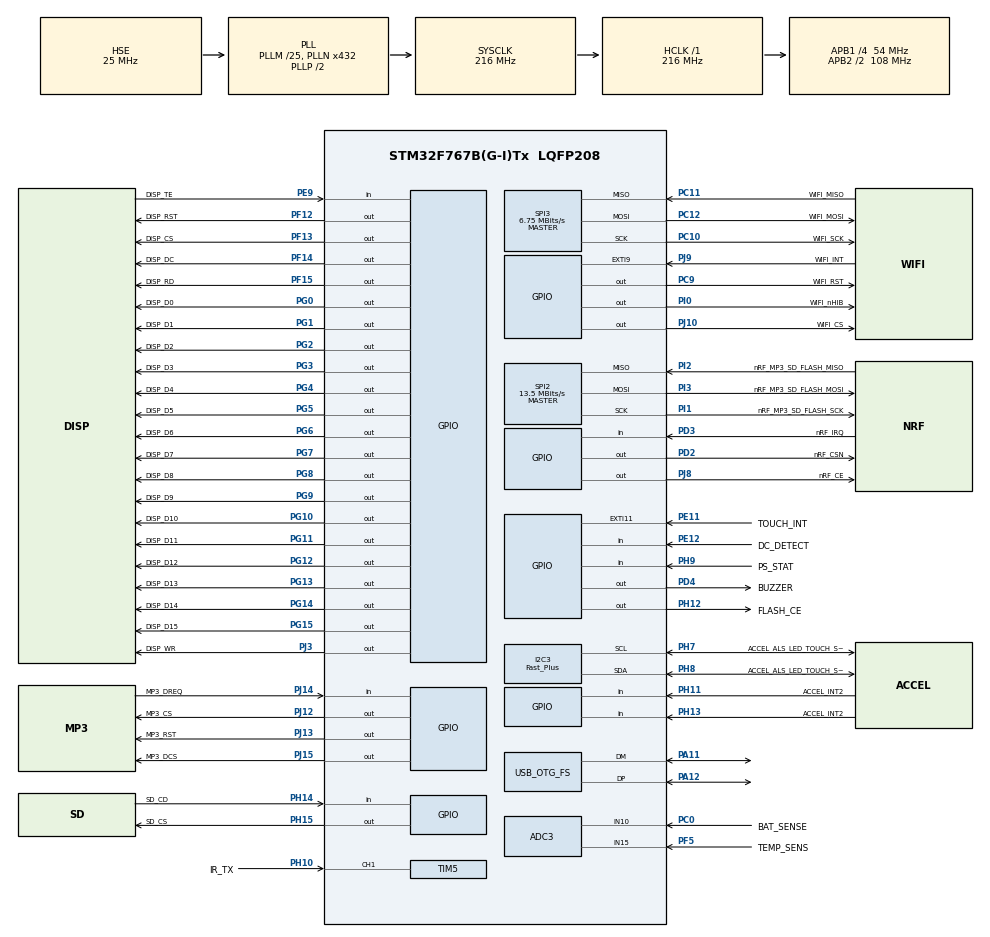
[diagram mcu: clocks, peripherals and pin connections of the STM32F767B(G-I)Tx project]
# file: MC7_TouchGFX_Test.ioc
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ADC1.Channel-5\#ChannelRegularConversion=ADC_CHANNEL_TEMPSENSOR
ADC1.ContinuousConvMode=DISABLE
ADC1.DiscontinuousConvMode=DISABLE
ADC1.NbrOfConversion=1
ADC1.NbrOfConversionFlag=1
ADC1.Rank-5\#ChannelRegularConversion=1
ADC1.SamplingTime-5\#ChannelRegularConversion=ADC_SAMPLETIME_480CYCLES
ADC1.ScanConvMode=ADC_SCAN_DISABLE
ADC1.master=1
ADC3.Channel-2\#ChannelRegularConversion=ADC_CHANNEL_15
ADC3.DiscontinuousConvMode=DISABLE
ADC3.NbrOfConversion=1
ADC3.NbrOfConversionFlag=1
ADC3.Rank-2\#ChannelRegularConversion=1
ADC3.SamplingTime-2\#ChannelRegularConversion=ADC_SAMPLETIME_480CYCLES
ADC3.ScanConvMode=ADC_SCAN_DISABLE
CORTEX_M7.ART_ACCLERATOR_ENABLE=0
CORTEX_M7.CPU_DCache=Enabled
CORTEX_M7.CPU_ICache=Enabled
CORTEX_M7.FlashInterface=AXI_Enabled
CORTEX_M7.PREFETCH_ENABLE=1
FATFS._MAX_SS=4096
FATFS._USE_FIND=1
FATFS._USE_LFN=1
I2C3.DualAddressMode=I2C_DUALADDRESS_DISABLE
I2C3.I2C_Speed_Mode=I2C_Fast_Plus
I2C3.Timing=0x00200922
Mcu.Family=STM32F7
Mcu.Name=STM32F767B(G-I)Tx
Mcu.Package=LQFP208
NVIC.EXTI15_10_IRQn=true\:1\:0\:true\:false\:true\:true\:true
NVIC.EXTI9_5_IRQn=true\:4\:0\:true\:false\:true\:true\:true
NVIC.OTG_FS_IRQn=true\:0\:0\:false\:false\:true\:false\:true
NVIC.PriorityGroup=NVIC_PRIORITYGROUP_4
NVIC.TIM2_IRQn=true\:0\:0\:false\:false\:true\:true\:true
NVIC.TIM4_IRQn=true\:0\:0\:false\:false\:true\:true\:true
NVIC.TIM5_IRQn=true\:5\:0\:true\:false\:true\:true\:true
PA11.Mode=Device_Only
PA11.Signal=USB_OTG_FS_DM
PA12.Mode=Device_Only
PA12.Signal=USB_OTG_FS_DP
PC0.GPIO_Label=BAT_SENSE
PC0.Signal=ADCx_IN10
PC10.GPIO_Label=WIFI_SCK
PC10.Mode=Full_Duplex_Master
PC10.Signal=SPI3_SCK
PC11.GPIO_Label=WIFI_MISO
PC11.Mode=Full_Duplex_Master
PC11.Signal=SPI3_MISO
PC12.GPIO_Label=WIFI_MOSI
PC12.Mode=Full_Duplex_Master
PC12.Signal=SPI3_MOSI
PC14/OSC32_IN.Mode=LSE-External-Oscillator
PC14/OSC32_IN.Signal=RCC_OSC32_IN
PC15/OSC32_OUT.Mode=LSE-External-Oscillator
PC15/OSC32_OUT.Signal=RCC_OSC32_OUT
PC9.GPIO_Label=WIFI_RST
PC9.GPIO_Speed=GPIO_SPEED_FREQ_VERY_HIGH
PC9.Signal=GPIO_Output
PD2.GPIO_Label=nRF_CSN
PD2.GPIO_Speed=GPIO_SPEED_FREQ_VERY_HIGH
PD2.Signal=GPIO_Output
PD3.GPIO_Label=nRF_IRQ
PD3.Signal=GPIO_Input
PD4.GPIO_Label=BUZZER
PD4.GPIO_Speed=GPIO_SPEED_FREQ_HIGH
PD4.Signal=GPIO_Output
PE11.GPIO_Label=TOUCH_INT
PE11.GPIO_ModeDefaultEXTI=GPIO_MODE_IT_FALLING
PE11.Signal=GPXTI11
PE12.GPIO_Label=DC_DETECT
PE12.Signal=GPIO_Input
PE9.GPIO_Label=DISP_TE
PE9.Signal=GPIO_Input
PF12.GPIO_Label=DISP_RST
PF12.GPIO_Speed=GPIO_SPEED_FREQ_VERY_HIGH
PF12.Signal=GPIO_Output
PF13.GPIO_Label=DISP_CS
PF13.GPIO_Speed=GPIO_SPEED_FREQ_VERY_HIGH
PF13.Signal=GPIO_Output
PF14.GPIO_Label=DISP_DC
PF14.GPIO_Speed=GPIO_SPEED_FREQ_VERY_HIGH
PF14.Signal=GPIO_Output
PF15.GPIO_Label=DISP_RD
PF15.GPIO_Speed=GPIO_SPEED_FREQ_VERY_HIGH
PF15.Signal=GPIO_Output
PF5.GPIO_Label=TEMP_SENS
PF5.Mode=IN15
PF5.Signal=ADC3_IN15
PG0.GPIO_Label=DISP_D0
PG0.GPIO_Speed=GPIO_SPEED_FREQ_VERY_HIGH
PG0.Signal=GPIO_Output
PG1.GPIO_Label=DISP_D1
PG1.GPIO_Speed=GPIO_SPEED_FREQ_VERY_HIGH
PG1.Signal=GPIO_Output
PG10.GPIO_Label=DISP_D10
PG10.GPIO_Speed=GPIO_SPEED_FREQ_VERY_HIGH
PG10.Signal=GPIO_Output
PG11.GPIO_Label=DISP_D11
PG11.GPIO_Speed=GPIO_SPEED_FREQ_VERY_HIGH
PG11.Signal=GPIO_Output
PG12.GPIO_Label=DISP_D12
PG12.GPIO_Speed=GPIO_SPEED_FREQ_VERY_HIGH
PG12.Signal=GPIO_Output
PG13.GPIO_Label=DISP_D13
PG13.GPIO_Speed=GPIO_SPEED_FREQ_VERY_HIGH
PG13.Signal=GPIO_Output
PG14.GPIO_Label=DISP_D14
PG14.GPIO_Speed=GPIO_SPEED_FREQ_VERY_HIGH
PG14.Signal=GPIO_Output
PG15.GPIO_Label=DISP_D15
PG15.GPIO_Speed=GPIO_SPEED_FREQ_VERY_HIGH
PG15.Signal=GPIO_Output
PG2.GPIO_Label=DISP_D2
PG2.GPIO_Speed=GPIO_SPEED_FREQ_VERY_HIGH
PG2.Signal=GPIO_Output
PG3.GPIO_Label=DISP_D3
PG3.GPIO_Speed=GPIO_SPEED_FREQ_VERY_HIGH
PG3.Signal=GPIO_Output
PG4.GPIO_Label=DISP_D4
PG4.GPIO_Speed=GPIO_SPEED_FREQ_VERY_HIGH
PG4.Signal=GPIO_Output
PG5.GPIO_Label=DISP_D5
PG5.GPIO_ModeDefaultOutputPP=GPIO_MODE_OUTPUT_PP
PG5.GPIO_Speed=GPIO_SPEED_FREQ_VERY_HIGH
PG5.Signal=GPIO_Output
PG6.GPIO_Label=DISP_D6
PG6.GPIO_Speed=GPIO_SPEED_FREQ_VERY_HIGH
PG6.Signal=GPIO_Output
PG7.GPIO_Label=DISP_D7
PG7.GPIO_Speed=GPIO_SPEED_FREQ_VERY_HIGH
PG7.Signal=GPIO_Output
PG8.GPIO_Label=DISP_D8
PG8.GPIO_Speed=GPIO_SPEED_FREQ_VERY_HIGH
PG8.Signal=GPIO_Output
PG9.GPIO_Label=DISP_D9
PG9.GPIO_Speed=GPIO_SPEED_FREQ_VERY_HIGH
PG9.Signal=GPIO_Output
PH0/OSC_IN.Mode=HSE-External-Oscillator
PH0/OSC_IN.Signal=RCC_OSC_IN
PH1/OSC_OUT.Mode=HSE-External-Oscillator
PH1/OSC_OUT.Signal=RCC_OSC_OUT
PH10.GPIO_Label=IR_TX
PH10.Signal=S_TIM5_CH1
PH11.GPIO_Label=ACCEL_INT2
PH11.Signal=GPIO_Input
PH12.GPIO_Label=FLASH_CE
PH12.GPIO_Speed=GPIO_SPEED_FREQ_VERY_HIGH
PH12.Signal=GPIO_Output
PH13.GPIO_Label=ACCEL_INT2
PH13.Signal=GPIO_Input
PH14.GPIO_Label=SD_CD
PH14.Signal=GPIO_Input
PH15.GPIO_Label=SD_CS
PH15.GPIO_Speed=GPIO_SPEED_FREQ_VERY_HIGH
PH15.PinState=GPIO_PIN_RESET
PH15.Signal=GPIO_Output
PH7.GPIO_Label=ACCEL_ALS_LED_TOUCH_SENS_SCL
PH7.Mode=I2C
PH7.Signal=I2C3_SCL
PH8.GPIO_Label=ACCEL_ALS_LED_TOUCH_SENS_SDA
PH8.Mode=I2C
PH8.Signal=I2C3_SDA
PH9.GPIO_Label=PS_STAT
PH9.Signal=GPIO_Input
PI0.GPIO_Label=WIFI_nHIB
PI0.GPIO_PuPd=GPIO_PULLUP
PI0.GPIO_Speed=GPIO_SPEED_FREQ_VERY_HIGH
PI0.Signal=GPIO_Output
PI1.GPIO_Label=nRF_MP3_SD_FLASH_SCK
PI1.GPIO_PuPd=GPIO_PULLUP
PI1.Mode=Full_Duplex_Master
PI1.Signal=SPI2_SCK
PI2.GPIO_Label=nRF_MP3_SD_FLASH_MISO
PI2.GPIO_PuPd=GPIO_PULLUP
PI2.Mode=Full_Duplex_Master
PI2.Signal=SPI2_MISO
PI3.GPIO_Label=nRF_MP3_SD_FLASH_MOSI
PI3.GPIO_PuPd=GPIO_PULLUP
PI3.Mode=Full_Duplex_Master
PI3.Signal=SPI2_MOSI
PJ10.GPIO_Label=WIFI_CS
PJ10.GPIO_Speed=GPIO_SPEED_FREQ_VERY_HIGH
PJ10.Signal=GPIO_Output
PJ12.GPIO_Label=MP3_CS
PJ12.GPIO_Speed=GPIO_SPEED_FREQ_VERY_HIGH
PJ12.Signal=GPIO_Output
PJ13.GPIO_Label=MP3_RST
PJ13.GPIO_Speed=GPIO_SPEED_FREQ_VERY_HIGH
PJ13.Signal=GPIO_Output
PJ14.GPIO_Label=MP3_DREQ
PJ14.Signal=GPIO_Input
PJ15.GPIO_Label=MP3_DCS
PJ15.GPIO_Speed=GPIO_SPEED_FREQ_VERY_HIGH
PJ15.Signal=GPIO_Output
PJ3.GPIO_Label=DISP_WR
PJ3.GPIO_Speed=GPIO_SPEED_FREQ_VERY_HIGH
PJ3.Signal=GPIO_Output
PJ8.GPIO_Label=nRF_CE
PJ8.GPIO_Speed=GPIO_SPEED_FREQ_VERY_HIGH
PJ8.Signal=GPIO_Output
PJ9.GPIO_Label=WIFI_INT
PJ9.Signal=GPXTI9
ProjectManager.HeapSize=0x2000
ProjectManager.StackSize=0x4000
ProjectManager.TargetToolchain=STM32CubeIDE
RCC.AHBFreq_Value=216000000
RCC.APB1CLKDivider=RCC_HCLK_DIV4
RCC.APB1Freq_Value=54000000
RCC.APB1TimFreq_Value=108000000
RCC.APB2CLKDivider=RCC_HCLK_DIV2
RCC.APB2Freq_Value=108000000
RCC.APB2TimFreq_Value=216000000
RCC.CortexFreq_Value=216000000
RCC.HCLKFreq_Value=216000000
RCC.HSE_Timout=100
RCC.HSE_VALUE=25000000
RCC.HSI_VALUE=16000000
RCC.PLL48CLockSelection=RCC_CLK48SOURCE_PLLSAIP
RCC.PLLM=25
RCC.PLLN=432
RCC.PLLSAIP=RCC_PLLSAIP_DIV4
RCC.SYSCLKFreq_VALUE=216000000
RCC.SYSCLKSource=RCC_SYSCLKSOURCE_PLLCLK
RCC.USBFreq_Value=48000000
RCC.VCOOutputFreq_Value=432000000
RTC.Date=26
RTC.Format=RTC_FORMAT_BIN
RTC.Hours=23
RTC.Minutes=50
RTC.Month=RTC_MONTH_APRIL
RTC.StoreOperation=RTC_STOREOPERATION_RESET
RTC.WeekDay=RTC_WEEKDAY_SUNDAY
RTC.Year=20
SH.ADCx_IN10.0=ADC3_IN10,IN10
SH.S_TIM5_CH1.0=TIM5_CH1,Input_Capture1_from_TI1
SH.S_TIM5_CH1.1=TIM5_CH1,TriggerSource_TI1FP1
SPI2.BaudRatePrescaler=SPI_BAUDRATEPRESCALER_4
SPI2.CLKPhase=SPI_PHASE_1EDGE
SPI2.CalculateBaudRate=13.5 MBits/s
SPI2.DataSize=SPI_DATASIZE_8BIT
SPI2.Direction=SPI_DIRECTION_2LINES
SPI2.Mode=SPI_MODE_MASTER
SPI2.VirtualType=VM_MASTER
SPI3.BaudRatePrescaler=SPI_BAUDRATEPRESCALER_8
SPI3.CalculateBaudRate=6.75 MBits/s
SPI3.DataSize=SPI_DATASIZE_8BIT
SPI3.Direction=SPI_DIRECTION_2LINES
SPI3.Mode=SPI_MODE_MASTER
SPI3.VirtualType=VM_MASTER
STMicroelectronics.X-CUBE-TOUCHGFX.4.13.0.ApplicationCcGraphicsJjApplication=TouchGFXOoGenerator
STMicroelectronics.X-CUBE-TOUCHGFX.4.13.0.tgfx_block_size=384000
STMicroelectronics.X-CUBE-TOUCHGFX.4.13.0.tgfx_buffering_strategy=Partial
STMicroelectronics.X-CUBE-TOUCHGFX.4.13.0.tgfx_custom_height=480
STMicroelectronics.X-CUBE-TOUCHGFX.4.13.0.tgfx_custom_width=800
STMicroelectronics.X-CUBE-TOUCHGFX.4.13.0.tgfx_hardware_accelerator=dma_none
STMicroelectronics.X-CUBE-TOUCHGFX.4.13.0.tgfx_number_of_blocks=2
STMicroelectronics.X-CUBE-TOUCHGFX.4.13.0.tgfx_pixel_format=RGB565\:16
TIM1.Period=0xFFFF
TIM1.Prescaler=54000
TIM2.AutoReloadPreload=TIM_AUTORELOAD_PRELOAD_ENABLE
TIM2.Period=54
TIM2.Prescaler=27
TIM4.AutoReloadPreload=TIM_AUTORELOAD_PRELOAD_ENABLE
TIM4.Period=8333
TIM4.Prescaler=107
TIM5.AutoReloadPreload=TIM_AUTORELOAD_PRELOAD_ENABLE
TIM5.Channel-Input_Capture1_from_TI1=TIM_CHANNEL_1
TIM5.ClockDivision=TIM_CLOCKDIVISION_DIV1
TIM5.CounterMode=TIM_COUNTERMODE_UP
TIM5.ICFilter_CH1=4
TIM5.ICPolarity_CH1=TIM_INPUTCHANNELPOLARITY_FALLING
TIM5.Period=0xffffffff
TIM5.Prescaler=107
USB_DEVICE.CLASS_NAME_FS=CDC
USB_DEVICE.VirtualMode-CDC_FS=Cdc
USB_DEVICE.VirtualModeFS=Cdc_FS
USB_OTG_FS.VirtualMode=Device_Only
VP_ADC1_TempSens_Input.Mode=IN-TempSens
VP_CRC_VS_CRC.Mode=CRC_Activate
VP_FATFS_VS_Generic.Mode=User_defined
VP_RTC_VS_RTC_Activate.Mode=RTC_Enabled
VP_RTC_VS_RTC_Calendar.Mode=RTC_Calendar
VP_STMicroelectronics.X-CUBE-TOUCHGFX_VS_GraphicsJjApplication_4.13.0.Mode=GraphicsJjApplication
VP_TIM1_VS_ClockSourceINT.Mode=Internal
VP_TIM2_VS_ClockSourceINT.Mode=Internal
VP_TIM4_VS_ClockSourceINT.Mode=Internal
VP_TIM5_VS_ClockSourceINT.Mode=Internal
VP_TIM5_VS_ControllerModeReset.Mode=Reset Mode
VP_USB_DEVICE_VS_USB_DEVICE_CDC_FS.Mode=CDC_FS
board=custom

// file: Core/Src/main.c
/* USER CODE BEGIN Header */
/**
  ******************************************************************************
  * @file           : main.c
  * @brief          : Main program body
  ******************************************************************************
  * @attention
  *
  * <h2><center>&copy; Copyright (c) 2020 STMicroelectronics.
  * All rights reserved.</center></h2>
  *
  * This software component is licensed by ST under BSD 3-Clause license,
  * the "License"; You may not use this file except in compliance with the
  * License. You may obtain a copy of the License at:
  *                        opensource.org/licenses/BSD-3-Clause
  *
  ******************************************************************************
  */
/* USER CODE END Header */

#include "main.h"
#include "fatfs.h"
#include "app_touchgfx.h"
#include "usb_device.h"

/* USER CODE BEGIN Includes */
#include <stdio.h>
#include "usbd_cdc_if.h"
#include "led/NCP5623C.h"
#include "als/LTR329ALS.h"
#include "ir/NEC_TimerIC.h"
#include "accel/FXOS8700CQ.h"
#include "flash/SST26VF064B.h"
#include "mp3/VS1053.h"
#include "temp/MCP9700A.h"
#include "internal/internal.h"
#include "power/pwr.h"
#include "buzzer/buzzer.h"
#include "sd/fatfs_sd.h"
#include "nRF/nrf24.h"
#include "wifi/CC3100.h"
#include "wifi/wifi_weather_demo.h"
#include "TargetDisplay.h"

//#include "user_diskio.h"
/* USER CODE END Includes */

ADC_HandleTypeDef hadc1;
ADC_HandleTypeDef hadc3;

CRC_HandleTypeDef hcrc;

I2C_HandleTypeDef hi2c3;

RTC_HandleTypeDef hrtc;

SPI_HandleTypeDef hspi2;
SPI_HandleTypeDef hspi3;

TIM_HandleTypeDef htim1;
TIM_HandleTypeDef htim2;
TIM_HandleTypeDef htim4;
TIM_HandleTypeDef htim5;

void SystemClock_Config(void);
static void MX_GPIO_Init(void);
static void MX_I2C3_Init(void);
static void MX_CRC_Init(void);
static void MX_TIM5_Init(void);
static void MX_SPI2_Init(void);
static void MX_TIM2_Init(void);
static void MX_ADC3_Init(void);
static void MX_ADC1_Init(void);
static void MX_RTC_Init(void);
static void MX_SPI3_Init(void);
static void MX_TIM1_Init(void);
static void MX_TIM4_Init(void);

int main(void)
{

  /* Enable I-Cache---------------------------------------------------------*/
  SCB_EnableICache();

  /* Enable D-Cache---------------------------------------------------------*/
  SCB_EnableDCache();

  /* MCU Configuration--------------------------------------------------------*/

  /* Reset of all peripherals, Initializes the Flash interface and the Systick. */
  HAL_Init();

  /* Configure the system clock */
  SystemClock_Config();

  /* USER CODE BEGIN SysInit */
  SystemCoreClockUpdate();
  /* USER CODE END SysInit */

  /* Initialize all configured peripherals */
  MX_GPIO_Init();
  MX_I2C3_Init();
  MX_CRC_Init();
  MX_TIM5_Init();
  MX_USB_DEVICE_Init();
  MX_SPI2_Init();
  MX_FATFS_Init();
  MX_TIM2_Init();
  MX_ADC3_Init();
  MX_ADC1_Init();
  MX_RTC_Init();
  MX_SPI3_Init();
  MX_TIM1_Init();
  MX_TIM4_Init();
  MX_TouchGFX_Init();
  /* USER CODE BEGIN 2 */

  NCP5623C_Init(hi2c3);

  NEC_Init(htim5, TIM_CHANNEL_1);
  NEC_StartCapture();

  HAL_TIM_Base_Start_IT(&htim2);

  LTR329ALS_Init(hi2c3);

  FXOS8700CQ_Init(hi2c3);
  FXOS8700CQ_AccelSetRange(FXOS8700CQ_RANGE_8g);

  VS1053_Init(hspi2);

  SD_init(hspi2);
  FATFS_UnLinkDriver(USERPath);
  HAL_Delay(100);
  FATFS_LinkDriver(&USER_Driver, USERPath);

  MCP9700A_Init(hadc3);

  PWR_Init(hadc3);

  INTERNAL_Init(hadc1,hrtc);

  SST26VF064B_Init(hspi2);

  nRF24_Init(hspi2);

  nRF24_LowerSpiSpeed();
  nRF24_DisableAA(0xFF);
  if (!nRF24_Check()) NCP5623C_SetLED(R_LED,100);
  nRF24_ReturnSpiSpeed();

  CC3100_Init(hspi3, htim1, EXTI9_5_IRQn);

  /* USER CODE END 2 */

  /* Infinite loop */
  while (1)
  {

  MX_TouchGFX_Process();
  }
}

void SystemClock_Config(void)
{
  RCC_OscInitTypeDef RCC_OscInitStruct = {0};
  RCC_ClkInitTypeDef RCC_ClkInitStruct = {0};
  RCC_PeriphCLKInitTypeDef PeriphClkInitStruct = {0};

  /** Configure LSE Drive Capability
  */
  HAL_PWR_EnableBkUpAccess();
  /** Configure the main internal regulator output voltage
  */
  __HAL_RCC_PWR_CLK_ENABLE();
  __HAL_PWR_VOLTAGESCALING_CONFIG(PWR_REGULATOR_VOLTAGE_SCALE1);
  /** Initializes the CPU, AHB and APB busses clocks
  */
  RCC_OscInitStruct.OscillatorType = RCC_OSCILLATORTYPE_LSI|RCC_OSCILLATORTYPE_HSE;
  RCC_OscInitStruct.HSEState = RCC_HSE_ON;
  RCC_OscInitStruct.LSIState = RCC_LSI_ON;
  RCC_OscInitStruct.PLL.PLLState = RCC_PLL_ON;
  RCC_OscInitStruct.PLL.PLLSource = RCC_PLLSOURCE_HSE;
  RCC_OscInitStruct.PLL.PLLM = 25;
  RCC_OscInitStruct.PLL.PLLN = 432;
  RCC_OscInitStruct.PLL.PLLP = RCC_PLLP_DIV2;
  RCC_OscInitStruct.PLL.PLLQ = 2;
  if (HAL_RCC_OscConfig(&RCC_OscInitStruct) != HAL_OK)
  {
    Error_Handler();
  }
  /** Activate the Over-Drive mode
  */
  if (HAL_PWREx_EnableOverDrive() != HAL_OK)
  {
    Error_Handler();
  }
  /** Initializes the CPU, AHB and APB busses clocks
  */
  RCC_ClkInitStruct.ClockType = RCC_CLOCKTYPE_HCLK|RCC_CLOCKTYPE_SYSCLK
                              |RCC_CLOCKTYPE_PCLK1|RCC_CLOCKTYPE_PCLK2;
  RCC_ClkInitStruct.SYSCLKSource = RCC_SYSCLKSOURCE_PLLCLK;
  RCC_ClkInitStruct.AHBCLKDivider = RCC_SYSCLK_DIV1;
  RCC_ClkInitStruct.APB1CLKDivider = RCC_HCLK_DIV4;
  RCC_ClkInitStruct.APB2CLKDivider = RCC_HCLK_DIV2;

  if (HAL_RCC_ClockConfig(&RCC_ClkInitStruct, FLASH_LATENCY_7) != HAL_OK)
  {
    Error_Handler();
  }
  PeriphClkInitStruct.PeriphClockSelection = RCC_PERIPHCLK_RTC|RCC_PERIPHCLK_I2C3
                              |RCC_PERIPHCLK_CLK48;
  PeriphClkInitStruct.PLLSAI.PLLSAIN = 192;
  PeriphClkInitStruct.PLLSAI.PLLSAIR = 2;
  PeriphClkInitStruct.PLLSAI.PLLSAIQ = 2;
  PeriphClkInitStruct.PLLSAI.PLLSAIP = RCC_PLLSAIP_DIV4;
  PeriphClkInitStruct.PLLSAIDivQ = 1;
  PeriphClkInitStruct.PLLSAIDivR = RCC_PLLSAIDIVR_2;
  PeriphClkInitStruct.RTCClockSelection = RCC_RTCCLKSOURCE_LSI;
  PeriphClkInitStruct.I2c3ClockSelection = RCC_I2C3CLKSOURCE_PCLK1;
  PeriphClkInitStruct.Clk48ClockSelection = RCC_CLK48SOURCE_PLLSAIP;
  if (HAL_RCCEx_PeriphCLKConfig(&PeriphClkInitStruct) != HAL_OK)
  {
    Error_Handler();
  }
}

static void MX_ADC1_Init(void)
{

  ADC_ChannelConfTypeDef sConfig = {0};

  /** Configure the global features of the ADC (Clock, Resolution, Data Alignment and number of conversion)
  */
  hadc1.Instance = ADC1;
  hadc1.Init.ClockPrescaler = ADC_CLOCK_SYNC_PCLK_DIV4;
  hadc1.Init.Resolution = ADC_RESOLUTION_12B;
  hadc1.Init.ScanConvMode = ADC_SCAN_DISABLE;
  hadc1.Init.ContinuousConvMode = DISABLE;
  hadc1.Init.DiscontinuousConvMode = DISABLE;
  hadc1.Init.ExternalTrigConvEdge = ADC_EXTERNALTRIGCONVEDGE_NONE;
  hadc1.Init.ExternalTrigConv = ADC_SOFTWARE_START;
  hadc1.Init.DataAlign = ADC_DATAALIGN_RIGHT;
  hadc1.Init.NbrOfConversion = 1;
  hadc1.Init.DMAContinuousRequests = DISABLE;
  hadc1.Init.EOCSelection = ADC_EOC_SINGLE_CONV;
  if (HAL_ADC_Init(&hadc1) != HAL_OK)
  {
    Error_Handler();
  }
  /** Configure for the selected ADC regular channel its corresponding rank in the sequencer and its sample time.
  */
  sConfig.Channel = ADC_CHANNEL_TEMPSENSOR;
  sConfig.Rank = ADC_REGULAR_RANK_1;
  sConfig.SamplingTime = ADC_SAMPLETIME_480CYCLES;
  if (HAL_ADC_ConfigChannel(&hadc1, &sConfig) != HAL_OK)
  {
    Error_Handler();
  }

}

static void MX_ADC3_Init(void)
{

  ADC_ChannelConfTypeDef sConfig = {0};

  /** Configure the global features of the ADC (Clock, Resolution, Data Alignment and number of conversion)
  */
  hadc3.Instance = ADC3;
  hadc3.Init.ClockPrescaler = ADC_CLOCK_SYNC_PCLK_DIV4;
  hadc3.Init.Resolution = ADC_RESOLUTION_12B;
  hadc3.Init.ScanConvMode = ADC_SCAN_DISABLE;
  hadc3.Init.ContinuousConvMode = DISABLE;
  hadc3.Init.DiscontinuousConvMode = DISABLE;
  hadc3.Init.ExternalTrigConvEdge = ADC_EXTERNALTRIGCONVEDGE_NONE;
  hadc3.Init.ExternalTrigConv = ADC_SOFTWARE_START;
  hadc3.Init.DataAlign = ADC_DATAALIGN_RIGHT;
  hadc3.Init.NbrOfConversion = 1;
  hadc3.Init.DMAContinuousRequests = DISABLE;
  hadc3.Init.EOCSelection = ADC_EOC_SINGLE_CONV;
  if (HAL_ADC_Init(&hadc3) != HAL_OK)
  {
    Error_Handler();
  }
  /** Configure for the selected ADC regular channel its corresponding rank in the sequencer and its sample time.
  */
  sConfig.Channel = ADC_CHANNEL_15;
  sConfig.Rank = ADC_REGULAR_RANK_1;
  sConfig.SamplingTime = ADC_SAMPLETIME_480CYCLES;
  if (HAL_ADC_ConfigChannel(&hadc3, &sConfig) != HAL_OK)
  {
    Error_Handler();
  }

}

static void MX_CRC_Init(void)
{

  hcrc.Instance = CRC;
  hcrc.Init.DefaultPolynomialUse = DEFAULT_POLYNOMIAL_ENABLE;
  hcrc.Init.DefaultInitValueUse = DEFAULT_INIT_VALUE_ENABLE;
  hcrc.Init.InputDataInversionMode = CRC_INPUTDATA_INVERSION_NONE;
  hcrc.Init.OutputDataInversionMode = CRC_OUTPUTDATA_INVERSION_DISABLE;
  hcrc.InputDataFormat = CRC_INPUTDATA_FORMAT_BYTES;
  if (HAL_CRC_Init(&hcrc) != HAL_OK)
  {
    Error_Handler();
  }

}

static void MX_I2C3_Init(void)
{

  hi2c3.Instance = I2C3;
  hi2c3.Init.Timing = 0x00200922;
  hi2c3.Init.OwnAddress1 = 0;
  hi2c3.Init.AddressingMode = I2C_ADDRESSINGMODE_7BIT;
  hi2c3.Init.DualAddressMode = I2C_DUALADDRESS_DISABLE;
  hi2c3.Init.OwnAddress2 = 0;
  hi2c3.Init.OwnAddress2Masks = I2C_OA2_NOMASK;
  hi2c3.Init.GeneralCallMode = I2C_GENERALCALL_DISABLE;
  hi2c3.Init.NoStretchMode = I2C_NOSTRETCH_DISABLE;
  if (HAL_I2C_Init(&hi2c3) != HAL_OK)
  {
    Error_Handler();
  }
  /** Configure Analogue filter
  */
  if (HAL_I2CEx_ConfigAnalogFilter(&hi2c3, I2C_ANALOGFILTER_ENABLE) != HAL_OK)
  {
    Error_Handler();
  }
  /** Configure Digital filter
  */
  if (HAL_I2CEx_ConfigDigitalFilter(&hi2c3, 0) != HAL_OK)
  {
    Error_Handler();
  }
  /** I2C Enable Fast Mode Plus
  */
  HAL_I2CEx_EnableFastModePlus(I2C_FASTMODEPLUS_I2C3);

}

static void MX_RTC_Init(void)
{

  RTC_TimeTypeDef sTime = {0};
  RTC_DateTypeDef sDate = {0};

  /** Initialize RTC Only
  */
  hrtc.Instance = RTC;
  hrtc.Init.HourFormat = RTC_HOURFORMAT_24;
  hrtc.Init.AsynchPrediv = 127;
  hrtc.Init.SynchPrediv = 255;
  hrtc.Init.OutPut = RTC_OUTPUT_DISABLE;
  hrtc.Init.OutPutPolarity = RTC_OUTPUT_POLARITY_HIGH;
  hrtc.Init.OutPutType = RTC_OUTPUT_TYPE_OPENDRAIN;
  if (HAL_RTC_Init(&hrtc) != HAL_OK)
  {
    Error_Handler();
  }

  /** Initialize RTC and set the Time and Date
  */
  sTime.Hours = 23;
  sTime.Minutes = 50;
  sTime.Seconds = 0;
  sTime.DayLightSaving = RTC_DAYLIGHTSAVING_NONE;
  sTime.StoreOperation = RTC_STOREOPERATION_RESET;
  if (HAL_RTC_SetTime(&hrtc, &sTime, RTC_FORMAT_BIN) != HAL_OK)
  {
    Error_Handler();
  }
  sDate.WeekDay = RTC_WEEKDAY_SUNDAY;
  sDate.Month = RTC_MONTH_APRIL;
  sDate.Date = 26;
  sDate.Year = 20;

  if (HAL_RTC_SetDate(&hrtc, &sDate, RTC_FORMAT_BIN) != HAL_OK)
  {
    Error_Handler();
  }

}

static void MX_SPI2_Init(void)
{

  /* SPI2 parameter configuration*/
  hspi2.Instance = SPI2;
  hspi2.Init.Mode = SPI_MODE_MASTER;
  hspi2.Init.Direction = SPI_DIRECTION_2LINES;
  hspi2.Init.DataSize = SPI_DATASIZE_8BIT;
  hspi2.Init.CLKPolarity = SPI_POLARITY_LOW;
  hspi2.Init.CLKPhase = SPI_PHASE_1EDGE;
  hspi2.Init.NSS = SPI_NSS_SOFT;
  hspi2.Init.BaudRatePrescaler = SPI_BAUDRATEPRESCALER_4;
  hspi2.Init.FirstBit = SPI_FIRSTBIT_MSB;
  hspi2.Init.TIMode = SPI_TIMODE_DISABLE;
  hspi2.Init.CRCCalculation = SPI_CRCCALCULATION_DISABLE;
  hspi2.Init.CRCPolynomial = 7;
  hspi2.Init.CRCLength = SPI_CRC_LENGTH_DATASIZE;
  hspi2.Init.NSSPMode = SPI_NSS_PULSE_ENABLE;
  if (HAL_SPI_Init(&hspi2) != HAL_OK)
  {
    Error_Handler();
  }

}

static void MX_SPI3_Init(void)
{

  /* SPI3 parameter configuration*/
  hspi3.Instance = SPI3;
  hspi3.Init.Mode = SPI_MODE_MASTER;
  hspi3.Init.Direction = SPI_DIRECTION_2LINES;
  hspi3.Init.DataSize = SPI_DATASIZE_8BIT;
  hspi3.Init.CLKPolarity = SPI_POLARITY_LOW;
  hspi3.Init.CLKPhase = SPI_PHASE_1EDGE;
  hspi3.Init.NSS = SPI_NSS_SOFT;
  hspi3.Init.BaudRatePrescaler = SPI_BAUDRATEPRESCALER_8;
  hspi3.Init.FirstBit = SPI_FIRSTBIT_MSB;
  hspi3.Init.TIMode = SPI_TIMODE_DISABLE;
  hspi3.Init.CRCCalculation = SPI_CRCCALCULATION_DISABLE;
  hspi3.Init.CRCPolynomial = 7;
  hspi3.Init.CRCLength = SPI_CRC_LENGTH_DATASIZE;
  hspi3.Init.NSSPMode = SPI_NSS_PULSE_ENABLE;
  if (HAL_SPI_Init(&hspi3) != HAL_OK)
  {
    Error_Handler();
  }

}

static void MX_TIM1_Init(void)
{

  TIM_ClockConfigTypeDef sClockSourceConfig = {0};
  TIM_MasterConfigTypeDef sMasterConfig = {0};

  htim1.Instance = TIM1;
  htim1.Init.Prescaler = 54000;
  htim1.Init.CounterMode = TIM_COUNTERMODE_UP;
  htim1.Init.Period = 0xFFFF;
  htim1.Init.ClockDivision = TIM_CLOCKDIVISION_DIV1;
  htim1.Init.RepetitionCounter = 0;
  htim1.Init.AutoReloadPreload = TIM_AUTORELOAD_PRELOAD_DISABLE;
  if (HAL_TIM_Base_Init(&htim1) != HAL_OK)
  {
    Error_Handler();
  }
  sClockSourceConfig.ClockSource = TIM_CLOCKSOURCE_INTERNAL;
  if (HAL_TIM_ConfigClockSource(&htim1, &sClockSourceConfig) != HAL_OK)
  {
    Error_Handler();
  }
  sMasterConfig.MasterOutputTrigger = TIM_TRGO_RESET;
  sMasterConfig.MasterOutputTrigger2 = TIM_TRGO2_RESET;
  sMasterConfig.MasterSlaveMode = TIM_MASTERSLAVEMODE_DISABLE;
  if (HAL_TIMEx_MasterConfigSynchronization(&htim1, &sMasterConfig) != HAL_OK)
  {
    Error_Handler();
  }

}

static void MX_TIM2_Init(void)
{

  TIM_ClockConfigTypeDef sClockSourceConfig = {0};
  TIM_MasterConfigTypeDef sMasterConfig = {0};

  htim2.Instance = TIM2;
  htim2.Init.Prescaler = 27;
  htim2.Init.CounterMode = TIM_COUNTERMODE_UP;
  htim2.Init.Period = 54;
  htim2.Init.ClockDivision = TIM_CLOCKDIVISION_DIV1;
  htim2.Init.AutoReloadPreload = TIM_AUTORELOAD_PRELOAD_ENABLE;
  if (HAL_TIM_Base_Init(&htim2) != HAL_OK)
  {
    Error_Handler();
  }
  sClockSourceConfig.ClockSource = TIM_CLOCKSOURCE_INTERNAL;
  if (HAL_TIM_ConfigClockSource(&htim2, &sClockSourceConfig) != HAL_OK)
  {
    Error_Handler();
  }
  sMasterConfig.MasterOutputTrigger = TIM_TRGO_RESET;
  sMasterConfig.MasterSlaveMode = TIM_MASTERSLAVEMODE_DISABLE;
  if (HAL_TIMEx_MasterConfigSynchronization(&htim2, &sMasterConfig) != HAL_OK)
  {
    Error_Handler();
  }

}

static void MX_TIM4_Init(void)
{

  TIM_ClockConfigTypeDef sClockSourceConfig = {0};
  TIM_MasterConfigTypeDef sMasterConfig = {0};

  htim4.Instance = TIM4;
  htim4.Init.Prescaler = 107;
  htim4.Init.CounterMode = TIM_COUNTERMODE_UP;
  htim4.Init.Period = 8333;
  htim4.Init.ClockDivision = TIM_CLOCKDIVISION_DIV1;
  htim4.Init.AutoReloadPreload = TIM_AUTORELOAD_PRELOAD_ENABLE;
  if (HAL_TIM_Base_Init(&htim4) != HAL_OK)
  {
    Error_Handler();
  }
  sClockSourceConfig.ClockSource = TIM_CLOCKSOURCE_INTERNAL;
  if (HAL_TIM_ConfigClockSource(&htim4, &sClockSourceConfig) != HAL_OK)
  {
    Error_Handler();
  }
  sMasterConfig.MasterOutputTrigger = TIM_TRGO_RESET;
  sMasterConfig.MasterSlaveMode = TIM_MASTERSLAVEMODE_DISABLE;
  if (HAL_TIMEx_MasterConfigSynchronization(&htim4, &sMasterConfig) != HAL_OK)
  {
    Error_Handler();
  }

}

static void MX_TIM5_Init(void)
{

  TIM_ClockConfigTypeDef sClockSourceConfig = {0};
  TIM_SlaveConfigTypeDef sSlaveConfig = {0};
  TIM_MasterConfigTypeDef sMasterConfig = {0};
  TIM_IC_InitTypeDef sConfigIC = {0};

  htim5.Instance = TIM5;
  htim5.Init.Prescaler = 107;
  htim5.Init.CounterMode = TIM_COUNTERMODE_UP;
  htim5.Init.Period = 0xffffffff;
  htim5.Init.ClockDivision = TIM_CLOCKDIVISION_DIV1;
  htim5.Init.AutoReloadPreload = TIM_AUTORELOAD_PRELOAD_ENABLE;
  if (HAL_TIM_Base_Init(&htim5) != HAL_OK)
  {
    Error_Handler();
  }
  sClockSourceConfig.ClockSource = TIM_CLOCKSOURCE_INTERNAL;
  if (HAL_TIM_ConfigClockSource(&htim5, &sClockSourceConfig) != HAL_OK)
  {
    Error_Handler();
  }
  if (HAL_TIM_IC_Init(&htim5) != HAL_OK)
  {
    Error_Handler();
  }
  sSlaveConfig.SlaveMode = TIM_SLAVEMODE_RESET;
  sSlaveConfig.InputTrigger = TIM_TS_TI1FP1;
  sSlaveConfig.TriggerPolarity = TIM_INPUTCHANNELPOLARITY_FALLING;
  sSlaveConfig.TriggerFilter = 0;
  if (HAL_TIM_SlaveConfigSynchro(&htim5, &sSlaveConfig) != HAL_OK)
  {
    Error_Handler();
  }
  sMasterConfig.MasterOutputTrigger = TIM_TRGO_RESET;
  sMasterConfig.MasterSlaveMode = TIM_MASTERSLAVEMODE_DISABLE;
  if (HAL_TIMEx_MasterConfigSynchronization(&htim5, &sMasterConfig) != HAL_OK)
  {
    Error_Handler();
  }
  sConfigIC.ICPolarity = TIM_INPUTCHANNELPOLARITY_FALLING;
  sConfigIC.ICSelection = TIM_ICSELECTION_DIRECTTI;
  sConfigIC.ICPrescaler = TIM_ICPSC_DIV1;
  sConfigIC.ICFilter = 4;
  if (HAL_TIM_IC_ConfigChannel(&htim5, &sConfigIC, TIM_CHANNEL_1) != HAL_OK)
  {
    Error_Handler();
  }

}

static void MX_GPIO_Init(void)
{
  GPIO_InitTypeDef GPIO_InitStruct = {0};

  /* GPIO Ports Clock Enable */
  __HAL_RCC_GPIOC_CLK_ENABLE();
  __HAL_RCC_GPIOF_CLK_ENABLE();
  __HAL_RCC_GPIOH_CLK_ENABLE();
  __HAL_RCC_GPIOJ_CLK_ENABLE();
  __HAL_RCC_GPIOG_CLK_ENABLE();
  __HAL_RCC_GPIOE_CLK_ENABLE();
  __HAL_RCC_GPIOA_CLK_ENABLE();
  __HAL_RCC_GPIOI_CLK_ENABLE();
  __HAL_RCC_GPIOD_CLK_ENABLE();

  /*Configure GPIO pin Output Level */
  HAL_GPIO_WritePin(GPIOJ, DISP_WR_Pin|nRF_CE_Pin|WIFI_CS_Pin|MP3_CS_Pin
                          |MP3_RST_Pin|MP3_DCS_Pin, GPIO_PIN_RESET);

  /*Configure GPIO pin Output Level */
  HAL_GPIO_WritePin(GPIOF, DISP_RST_Pin|DISP_CS_Pin|DISP_DC_Pin|DISP_RD_Pin, GPIO_PIN_RESET);

  /*Configure GPIO pin Output Level */
  HAL_GPIO_WritePin(GPIOG, DISP_D0_Pin|DISP_D1_Pin|DISP_D2_Pin|DISP_D3_Pin
                          |DISP_D4_Pin|DISP_D5_Pin|DISP_D6_Pin|DISP_D7_Pin
                          |DISP_D8_Pin|DISP_D9_Pin|DISP_D10_Pin|DISP_D11_Pin
                          |DISP_D12_Pin|DISP_D13_Pin|DISP_D14_Pin|DISP_D15_Pin, GPIO_PIN_RESET);

  /*Configure GPIO pin Output Level */
  HAL_GPIO_WritePin(GPIOH, FLASH_CE_Pin|SD_CS_Pin, GPIO_PIN_RESET);

  /*Configure GPIO pin Output Level */
  HAL_GPIO_WritePin(WIFI_RST_GPIO_Port, WIFI_RST_Pin, GPIO_PIN_RESET);

  /*Configure GPIO pin Output Level */
  HAL_GPIO_WritePin(WIFI_nHIB_GPIO_Port, WIFI_nHIB_Pin, GPIO_PIN_RESET);

  /*Configure GPIO pin Output Level */
  HAL_GPIO_WritePin(GPIOD, nRF_CSN_Pin|BUZZER_Pin, GPIO_PIN_RESET);

  /*Configure GPIO pins : DISP_WR_Pin nRF_CE_Pin WIFI_CS_Pin MP3_CS_Pin
                           MP3_RST_Pin MP3_DCS_Pin */
  GPIO_InitStruct.Pin = DISP_WR_Pin|nRF_CE_Pin|WIFI_CS_Pin|MP3_CS_Pin
                          |MP3_RST_Pin|MP3_DCS_Pin;
  GPIO_InitStruct.Mode = GPIO_MODE_OUTPUT_PP;
  GPIO_InitStruct.Pull = GPIO_NOPULL;
  GPIO_InitStruct.Speed = GPIO_SPEED_FREQ_VERY_HIGH;
  HAL_GPIO_Init(GPIOJ, &GPIO_InitStruct);

  /*Configure GPIO pins : DISP_RST_Pin DISP_CS_Pin DISP_DC_Pin DISP_RD_Pin */
  GPIO_InitStruct.Pin = DISP_RST_Pin|DISP_CS_Pin|DISP_DC_Pin|DISP_RD_Pin;
  GPIO_InitStruct.Mode = GPIO_MODE_OUTPUT_PP;
  GPIO_InitStruct.Pull = GPIO_NOPULL;
  GPIO_InitStruct.Speed = GPIO_SPEED_FREQ_VERY_HIGH;
  HAL_GPIO_Init(GPIOF, &GPIO_InitStruct);

  /*Configure GPIO pins : DISP_D0_Pin DISP_D1_Pin DISP_D2_Pin DISP_D3_Pin
                           DISP_D4_Pin DISP_D5_Pin DISP_D6_Pin DISP_D7_Pin
                           DISP_D8_Pin DISP_D9_Pin DISP_D10_Pin DISP_D11_Pin
                           DISP_D12_Pin DISP_D13_Pin DISP_D14_Pin DISP_D15_Pin */
  GPIO_InitStruct.Pin = DISP_D0_Pin|DISP_D1_Pin|DISP_D2_Pin|DISP_D3_Pin
                          |DISP_D4_Pin|DISP_D5_Pin|DISP_D6_Pin|DISP_D7_Pin
                          |DISP_D8_Pin|DISP_D9_Pin|DISP_D10_Pin|DISP_D11_Pin
                          |DISP_D12_Pin|DISP_D13_Pin|DISP_D14_Pin|DISP_D15_Pin;
  GPIO_InitStruct.Mode = GPIO_MODE_OUTPUT_PP;
  GPIO_InitStruct.Pull = GPIO_NOPULL;
  GPIO_InitStruct.Speed = GPIO_SPEED_FREQ_VERY_HIGH;
  HAL_GPIO_Init(GPIOG, &GPIO_InitStruct);

  /*Configure GPIO pins : DISP_TE_Pin DC_DETECT_Pin */
  GPIO_InitStruct.Pin = DISP_TE_Pin|DC_DETECT_Pin;
  GPIO_InitStruct.Mode = GPIO_MODE_INPUT;
  GPIO_InitStruct.Pull = GPIO_NOPULL;
  HAL_GPIO_Init(GPIOE, &GPIO_InitStruct);

  /*Configure GPIO pin : TOUCH_INT_Pin */
  GPIO_InitStruct.Pin = TOUCH_INT_Pin;
  GPIO_InitStruct.Mode = GPIO_MODE_IT_FALLING;
  GPIO_InitStruct.Pull = GPIO_NOPULL;
  HAL_GPIO_Init(TOUCH_INT_GPIO_Port, &GPIO_InitStruct);

  /*Configure GPIO pins : PS_STAT_Pin ACCEL_INT2_Pin ACCEL_INT2H13_Pin SD_CD_Pin */
  GPIO_InitStruct.Pin = PS_STAT_Pin|ACCEL_INT2_Pin|ACCEL_INT2H13_Pin|SD_CD_Pin;
  GPIO_InitStruct.Mode = GPIO_MODE_INPUT;
  GPIO_InitStruct.Pull = GPIO_NOPULL;
  HAL_GPIO_Init(GPIOH, &GPIO_InitStruct);

  /*Configure GPIO pins : FLASH_CE_Pin SD_CS_Pin */
  GPIO_InitStruct.Pin = FLASH_CE_Pin|SD_CS_Pin;
  GPIO_InitStruct.Mode = GPIO_MODE_OUTPUT_PP;
  GPIO_InitStruct.Pull = GPIO_NOPULL;
  GPIO_InitStruct.Speed = GPIO_SPEED_FREQ_VERY_HIGH;
  HAL_GPIO_Init(GPIOH, &GPIO_InitStruct);

  /*Configure GPIO pin : WIFI_INT_Pin */
  GPIO_InitStruct.Pin = WIFI_INT_Pin;
  GPIO_InitStruct.Mode = GPIO_MODE_IT_RISING;
  GPIO_InitStruct.Pull = GPIO_NOPULL;
  HAL_GPIO_Init(WIFI_INT_GPIO_Port, &GPIO_InitStruct);

  /*Configure GPIO pin : WIFI_RST_Pin */
  GPIO_InitStruct.Pin = WIFI_RST_Pin;
  GPIO_InitStruct.Mode = GPIO_MODE_OUTPUT_PP;
  GPIO_InitStruct.Pull = GPIO_NOPULL;
  GPIO_InitStruct.Speed = GPIO_SPEED_FREQ_VERY_HIGH;
  HAL_GPIO_Init(WIFI_RST_GPIO_Port, &GPIO_InitStruct);

  /*Configure GPIO pin : WIFI_nHIB_Pin */
  GPIO_InitStruct.Pin = WIFI_nHIB_Pin;
  GPIO_InitStruct.Mode = GPIO_MODE_OUTPUT_PP;
  GPIO_InitStruct.Pull = GPIO_PULLUP;
  GPIO_InitStruct.Speed = GPIO_SPEED_FREQ_VERY_HIGH;
  HAL_GPIO_Init(WIFI_nHIB_GPIO_Port, &GPIO_InitStruct);

  /*Configure GPIO pin : nRF_CSN_Pin */
  GPIO_InitStruct.Pin = nRF_CSN_Pin;
  GPIO_InitStruct.Mode = GPIO_MODE_OUTPUT_PP;
  GPIO_InitStruct.Pull = GPIO_NOPULL;
  GPIO_InitStruct.Speed = GPIO_SPEED_FREQ_VERY_HIGH;
  HAL_GPIO_Init(nRF_CSN_GPIO_Port, &GPIO_InitStruct);

  /*Configure GPIO pin : nRF_IRQ_Pin */
  GPIO_InitStruct.Pin = nRF_IRQ_Pin;
  GPIO_InitStruct.Mode = GPIO_MODE_INPUT;
  GPIO_InitStruct.Pull = GPIO_NOPULL;
  HAL_GPIO_Init(nRF_IRQ_GPIO_Port, &GPIO_InitStruct);

  /*Configure GPIO pin : BUZZER_Pin */
  GPIO_InitStruct.Pin = BUZZER_Pin;
  GPIO_InitStruct.Mode = GPIO_MODE_OUTPUT_PP;
  GPIO_InitStruct.Pull = GPIO_NOPULL;
  GPIO_InitStruct.Speed = GPIO_SPEED_FREQ_HIGH;
  HAL_GPIO_Init(BUZZER_GPIO_Port, &GPIO_InitStruct);

  /*Configure GPIO pin : MP3_DREQ_Pin */
  GPIO_InitStruct.Pin = MP3_DREQ_Pin;
  GPIO_InitStruct.Mode = GPIO_MODE_INPUT;
  GPIO_InitStruct.Pull = GPIO_NOPULL;
  HAL_GPIO_Init(MP3_DREQ_GPIO_Port, &GPIO_InitStruct);

  /* EXTI interrupt init*/
  HAL_NVIC_SetPriority(EXTI9_5_IRQn, 4, 0);
  HAL_NVIC_EnableIRQ(EXTI9_5_IRQn);

  HAL_NVIC_SetPriority(EXTI15_10_IRQn, 1, 0);
  HAL_NVIC_EnableIRQ(EXTI15_10_IRQn);

}

/* USER CODE BEGIN 4 */
void HAL_TIM_IC_CaptureCallback(TIM_HandleTypeDef *htim)
{
	if (htim == &htim5)
	{
		if(NEC_Capture())
		{
			NEC_StopCapture();
			NEC_Decode();
			NEC_StartCapture();
		}
    }
}
void HAL_TIM_PeriodElapsedCallback(TIM_HandleTypeDef *htim)
{
	if (htim == &htim2)
	{
		BUZZER_Exec();
	}
#ifdef DISP_RFRSH_TIM
	if (htim == &htim4)
	{
		touchgfx_signalVSync();
	}
#endif
}

void HAL_GPIO_EXTI_Callback(uint16_t GPIO_Pin)
{
    if((GPIO_Pin == WIFI_INT_PIN)&&(NULL != CC3100_GetInterruptHandler()))
    {
    	CC3100_ResetInterruptHandler();
    }

	if(GPIO_Pin==INT_PIN) 			//touch interrupt - pressed
	{
		TOUCH_Set();				//TouchGFX checks if touch is pressed by calling TOUCH_IsPressed()
	}
#ifdef DISP_RFRSH_TE
	if(GPIO_Pin==TE_PIN) 			//display interrupt - tear signal
	{
		touchgfx_signalVSync(); 	// inform TouchGFX to render new frame since TE is occurred
	}
#endif
}
/* USER CODE END 4 */

void Error_Handler(void)
{
}

/************************ (C) COPYRIGHT STMicroelectronics *****END OF FILE****/
